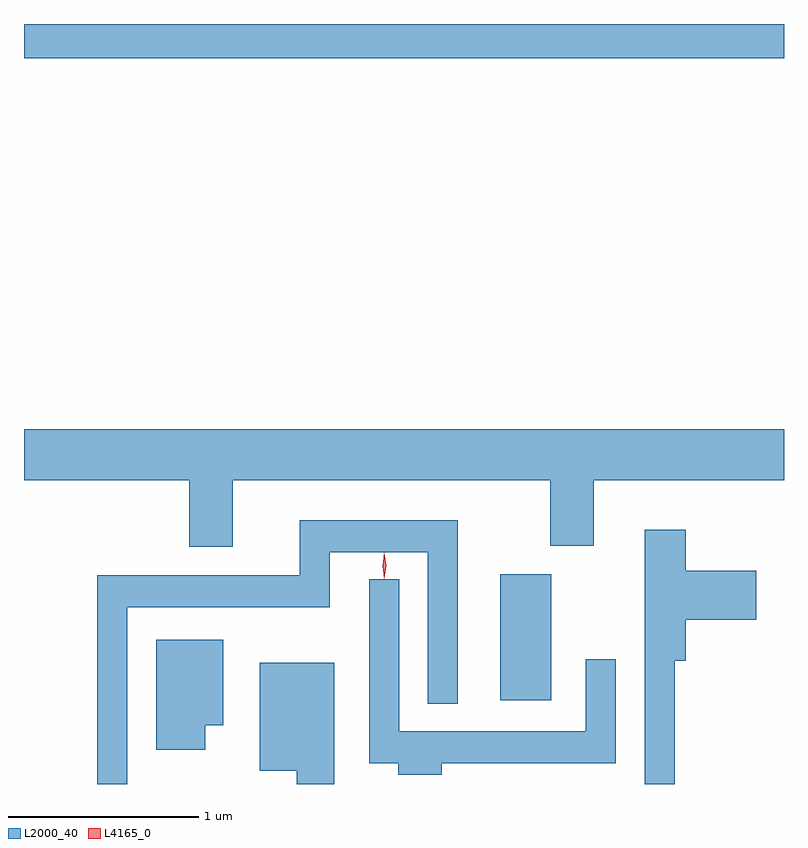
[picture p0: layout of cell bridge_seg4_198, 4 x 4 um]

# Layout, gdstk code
import gdstk
lib = gdstk.Library(unit=1e-6, precision=1e-09)
def R(c, l, rs):  # rectangles x0, y0, x1, y1
    for r in rs: c.add(gdstk.rectangle(r[:2], r[2:], *l))
def P(c, l, *ps):  # polygons
    for p in ps: c.add(gdstk.Polygon(p, *l))
L2000_40 = (2000, 40)
L4165_0 = (4165, 0)

bridge_seg4_198 = lib.new_cell('bridge_seg4_198')
R(bridge_seg4_198, L2000_40, [(964.506,1317.996,964.774,1318.659), (962,1321.376,966,1321.556)])
P(bridge_seg4_198, L2000_40, [(963.099,1319.156),(964.771,1319.156),(964.771,1318.811),(964.999,1318.811),(964.999,1319.156),(966,1319.156),(966,1319.424),(962,1319.424),(962,1319.156),(962.871,1319.156),(962.871,1318.806),(963.099,1318.806)],
  [(962.544,1318.486),(963.609,1318.486),(963.609,1318.776),(964.126,1318.776),(964.126,1317.978),(964.284,1317.978),(964.284,1318.944),(963.451,1318.944),(963.451,1318.654),(962.386,1318.654),(962.386,1317.556),(962.544,1317.556)],
  [(965.424,1318.206),(965.484,1318.206),(965.484,1318.421),(965.854,1318.421),(965.854,1318.679),(965.484,1318.679),(965.484,1318.894),(965.266,1318.894),(965.266,1317.556),(965.424,1317.556)],
  [(964.199,1317.666),(965.114,1317.666),(965.114,1318.213),(964.956,1318.213),(964.956,1317.834),(963.974,1317.834),(963.974,1318.633),(963.816,1318.633),(963.816,1317.666),(963.971,1317.666),(963.971,1317.606),(964.199,1317.606)],
  [(962.954,1317.866),(963.049,1317.866),(963.049,1318.314),(962.696,1318.314),(962.696,1317.736),(962.954,1317.736)],
  [(963.634,1318.194),(963.241,1318.194),(963.241,1317.626),(963.436,1317.626),(963.436,1317.556),(963.634,1317.556)])
P(bridge_seg4_198, L4165_0, [(963.896,1318.634),(963.896,1318.635),(963.887,1318.704),(963.896,1318.773),(963.897,1318.774),(963.897,1318.773),(963.907,1318.704),(963.897,1318.635)])

lib.write_gds('bridge_seg4_198.gds')
